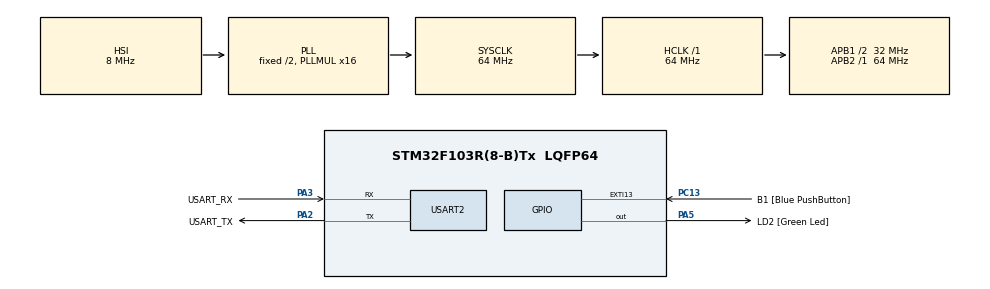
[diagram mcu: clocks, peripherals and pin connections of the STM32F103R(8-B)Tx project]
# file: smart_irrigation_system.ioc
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Mcu.Family=STM32F1
Mcu.Name=STM32F103R(8-B)Tx
Mcu.Package=LQFP64
NVIC.EXTI15_10_IRQn=true\:0\:0\:false\:false\:true\:true\:true\:true
NVIC.PriorityGroup=NVIC_PRIORITYGROUP_4
PA13.GPIO_Label=TMS
PA13.Mode=Serial_Wire
PA13.Signal=SYS_JTMS-SWDIO
PA14.GPIO_Label=TCK
PA14.Mode=Serial_Wire
PA14.Signal=SYS_JTCK-SWCLK
PA2.GPIO_Label=USART_TX
PA2.GPIO_Mode=GPIO_MODE_AF_PP
PA2.GPIO_PuPd=GPIO_NOPULL
PA2.GPIO_Speed=GPIO_SPEED_FREQ_LOW
PA2.Mode=Asynchronous
PA2.Signal=USART2_TX
PA3.GPIO_Label=USART_RX
PA3.GPIO_Mode=GPIO_MODE_AF_PP
PA3.GPIO_PuPd=GPIO_NOPULL
PA3.GPIO_Speed=GPIO_SPEED_FREQ_LOW
PA3.Mode=Asynchronous
PA3.Signal=USART2_RX
PA5.GPIO_Label=LD2 [Green Led]
PA5.GPIO_ModeDefaultOutputPP=GPIO_MODE_OUTPUT_PP
PA5.GPIO_PuPd=GPIO_NOPULL
PA5.GPIO_Speed=GPIO_SPEED_FREQ_LOW
PA5.Signal=GPIO_Output
PB3.GPIO_Label=SWO
PB3.Signal=SYS_JTDO-TRACESWO
PC13-TAMPER-RTC.GPIO_Label=B1 [Blue PushButton]
PC13-TAMPER-RTC.GPIO_PuPd=GPIO_NOPULL
PC13-TAMPER-RTC.Signal=GPXTI13
PC14-OSC32_IN.Mode=LSE-External-Oscillator
PC14-OSC32_IN.Signal=RCC_OSC32_IN
PC15-OSC32_OUT.Mode=LSE-External-Oscillator
PC15-OSC32_OUT.Signal=RCC_OSC32_OUT
PD0-OSC_IN.Mode=HSE-External-Clock-Source
PD0-OSC_IN.Signal=RCC_OSC_IN
PD1-OSC_OUT.Mode=HSE-External-Clock-Source
PD1-OSC_OUT.Signal=RCC_OSC_OUT
ProjectManager.HeapSize=0x200
ProjectManager.StackSize=0x400
ProjectManager.TargetToolchain=STM32CubeIDE
RCC.AHBFreq_Value=64000000
RCC.APB1CLKDivider=RCC_HCLK_DIV2
RCC.APB1Freq_Value=32000000
RCC.APB1TimFreq_Value=64000000
RCC.APB2Freq_Value=64000000
RCC.APB2TimFreq_Value=64000000
RCC.HCLKFreq_Value=64000000
RCC.PLLMUL=RCC_PLL_MUL16
RCC.RTCClockSelection=RCC_RTCCLKSOURCE_LSE
RCC.SYSCLKFreq_VALUE=64000000
RCC.SYSCLKSource=RCC_SYSCLKSOURCE_PLLCLK
RCC.USBFreq_Value=64000000
USART2.VirtualMode=VM_ASYNC
board=NUCLEO-F103RB

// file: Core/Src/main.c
/* USER CODE BEGIN Header */
/**
  ******************************************************************************
  * @file           : main.c
  * @brief          : Main program body
  ******************************************************************************
  * @attention
  *
  * Copyright (c) 2025 STMicroelectronics.
  * All rights reserved.
  *
  * This software is licensed under terms that can be found in the LICENSE file
  * in the root directory of this software component.
  * If no LICENSE file comes with this software, it is provided AS-IS.
  *
  ******************************************************************************
  */
/* USER CODE END Header */
#include "main.h"

UART_HandleTypeDef huart2;

void SystemClock_Config(void);
static void MX_GPIO_Init(void);
static void MX_USART2_UART_Init(void);

/* USER CODE BEGIN 0 */
#define MOISTURE_THRESHOLD 40       // % threshold for dry soil
#define PUMP_ON_TIME_MS    3000     // Pump run time in milliseconds

#define PUMP_GPIO_PORT GPIOB
#define PUMP_PIN       GPIO_PIN_0

uint32_t Read_Soil_ADC(void);
uint8_t Convert_ADC_to_Percentage(uint32_t adc_value);
void Pump_On(void);
void Pump_Off(void);
void Send_UART(char *msg);
/* USER CODE END 0 */

int main(void)
{

  /* MCU Configuration--------------------------------------------------------*/

  /* Reset of all peripherals, Initializes the Flash interface and the Systick. */
  HAL_Init();

  /* Configure the system clock */
  SystemClock_Config();

  /* Initialize all configured peripherals */
  MX_GPIO_Init();
  MX_USART2_UART_Init();
  /* USER CODE BEGIN 2 */
  HAL_ADC_Start(&hadc1);
  Send_UART("Smart Irrigation System Initialized\r\n");
  /* USER CODE END 2 */

  /* Infinite loop */
  /* USER CODE BEGIN WHILE */
  while (1)
  {
	uint32_t adc_raw = Read_Soil_ADC();
	uint8_t moisture_percent = Convert_ADC_to_Percentage(adc_raw);

	char buffer[64];
	sprintf(buffer, "Soil Moisture: %u%% (ADC: %lu)\r\n", moisture_percent, adc_raw);
	Send_UART(buffer);

	if (moisture_percent < MOISTURE_THRESHOLD)
	{
		Send_UART("Soil dry → Activating pump...\r\n");
		Pump_On();
		HAL_Delay(PUMP_ON_TIME_MS);
		Pump_Off();
		Send_UART("Pump off.\r\n");
	}

	HAL_Delay(1000);  // 1 second delay
    /* USER CODE END WHILE */

  }
}

void SystemClock_Config(void)
{
  RCC_OscInitTypeDef RCC_OscInitStruct = {0};
  RCC_ClkInitTypeDef RCC_ClkInitStruct = {0};

  /** Initializes the RCC Oscillators according to the specified parameters
  * in the RCC_OscInitTypeDef structure.
  */
  RCC_OscInitStruct.OscillatorType = RCC_OSCILLATORTYPE_HSI;
  RCC_OscInitStruct.HSIState = RCC_HSI_ON;
  RCC_OscInitStruct.HSICalibrationValue = RCC_HSICALIBRATION_DEFAULT;
  RCC_OscInitStruct.PLL.PLLState = RCC_PLL_ON;
  RCC_OscInitStruct.PLL.PLLSource = RCC_PLLSOURCE_HSI_DIV2;
  RCC_OscInitStruct.PLL.PLLMUL = RCC_PLL_MUL16;
  if (HAL_RCC_OscConfig(&RCC_OscInitStruct) != HAL_OK)
  {
    Error_Handler();
  }

  /** Initializes the CPU, AHB and APB buses clocks
  */
  RCC_ClkInitStruct.ClockType = RCC_CLOCKTYPE_HCLK|RCC_CLOCKTYPE_SYSCLK
                              |RCC_CLOCKTYPE_PCLK1|RCC_CLOCKTYPE_PCLK2;
  RCC_ClkInitStruct.SYSCLKSource = RCC_SYSCLKSOURCE_PLLCLK;
  RCC_ClkInitStruct.AHBCLKDivider = RCC_SYSCLK_DIV1;
  RCC_ClkInitStruct.APB1CLKDivider = RCC_HCLK_DIV2;
  RCC_ClkInitStruct.APB2CLKDivider = RCC_HCLK_DIV1;

  if (HAL_RCC_ClockConfig(&RCC_ClkInitStruct, FLASH_LATENCY_2) != HAL_OK)
  {
    Error_Handler();
  }
}

static void MX_USART2_UART_Init(void)
{

  huart2.Instance = USART2;
  huart2.Init.BaudRate = 115200;
  huart2.Init.WordLength = UART_WORDLENGTH_8B;
  huart2.Init.StopBits = UART_STOPBITS_1;
  huart2.Init.Parity = UART_PARITY_NONE;
  huart2.Init.Mode = UART_MODE_TX_RX;
  huart2.Init.HwFlowCtl = UART_HWCONTROL_NONE;
  huart2.Init.OverSampling = UART_OVERSAMPLING_16;
  if (HAL_UART_Init(&huart2) != HAL_OK)
  {
    Error_Handler();
  }

}

static void MX_GPIO_Init(void)
{
  GPIO_InitTypeDef GPIO_InitStruct = {0};

  /* GPIO Ports Clock Enable */
  __HAL_RCC_GPIOC_CLK_ENABLE();
  __HAL_RCC_GPIOD_CLK_ENABLE();
  __HAL_RCC_GPIOA_CLK_ENABLE();
  __HAL_RCC_GPIOB_CLK_ENABLE();

  /*Configure GPIO pin Output Level */
  HAL_GPIO_WritePin(LD2_GPIO_Port, LD2_Pin, GPIO_PIN_RESET);

  /*Configure GPIO pin : B1_Pin */
  GPIO_InitStruct.Pin = B1_Pin;
  GPIO_InitStruct.Mode = GPIO_MODE_IT_RISING;
  GPIO_InitStruct.Pull = GPIO_NOPULL;
  HAL_GPIO_Init(B1_GPIO_Port, &GPIO_InitStruct);

  /*Configure GPIO pin : LD2_Pin */
  GPIO_InitStruct.Pin = LD2_Pin;
  GPIO_InitStruct.Mode = GPIO_MODE_OUTPUT_PP;
  GPIO_InitStruct.Pull = GPIO_NOPULL;
  GPIO_InitStruct.Speed = GPIO_SPEED_FREQ_LOW;
  HAL_GPIO_Init(LD2_GPIO_Port, &GPIO_InitStruct);

  /* EXTI interrupt init*/
  HAL_NVIC_SetPriority(EXTI15_10_IRQn, 0, 0);
  HAL_NVIC_EnableIRQ(EXTI15_10_IRQn);

}

/* USER CODE BEGIN 4 */
uint32_t Read_Soil_ADC(void)
{
    HAL_ADC_PollForConversion(&hadc1, HAL_MAX_DELAY);
    return HAL_ADC_GetValue(&hadc1);     // 0–4095
}

uint8_t Convert_ADC_to_Percentage(uint32_t adc_value)
{
    float percent = ((float)adc_value / 4095.0f) * 100.0f;
    percent = 100 - percent;  // invert if sensor reads dry=high (capacitive)

    if (percent > 100) percent = 100;
    if (percent < 0)   percent = 0;

    return (uint8_t)percent;
}

void Pump_On(void)
{
    HAL_GPIO_WritePin(PUMP_GPIO_PORT, PUMP_PIN, GPIO_PIN_SET);
}

void Pump_Off(void)
{
    HAL_GPIO_WritePin(PUMP_GPIO_PORT, PUMP_PIN, GPIO_PIN_RESET);
}

void Send_UART(char *msg)
{
    HAL_UART_Transmit(&huart2, (uint8_t*)msg, strlen(msg), HAL_MAX_DELAY);
}
/* USER CODE END 4 */

void Error_Handler(void)
{
  __disable_irq();
  while (1)
  {
  }
}
